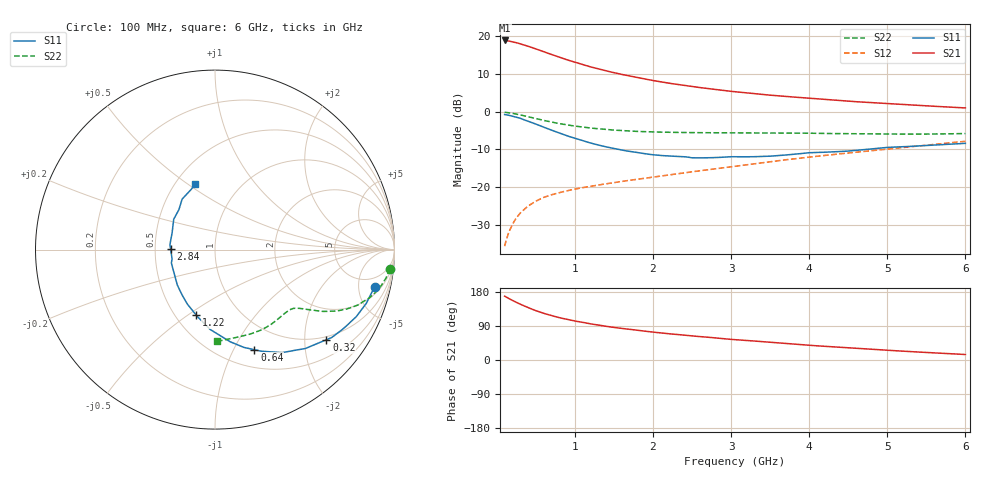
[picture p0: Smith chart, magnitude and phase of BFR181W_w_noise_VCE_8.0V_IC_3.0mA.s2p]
! Infineon Technologies  Discrete & RF Semiconductors
! BFR181W
! VCE =  8.0 V,  IC =  3.0 mA
! Common Emitter S-Parameters:  Nov 2015
# GHz  S  MA  R  50
!  f  S11  S21  S12  S22
! GHz  MAG  ANG  MAG  ANG  MAG  ANG  MAG  ANG
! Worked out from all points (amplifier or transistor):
!   192 points, 100 MHz to 6 GHz, reference 50 ohm
!   highest |S21| = 18.8 dB at 100 MHz (marker M1)
!   |S21| within 3 dB of that: start of sweep to 606.4 MHz
!   unconditionally stable (mu >= 1): 1.9 GHz to 3.453 GHz
!   at 440 MHz: K = 0.36, MSG = 20.7 dB, |S12| = -24.5 dB
!   at 1.7 GHz: K = 0.96, MSG = 13.8 dB, |S12| = -18.2 dB
!   at 6 GHz: K = 0.80, MSG = 4.4 dB, |S12| = -7.9 dB
!   lowest NFmin = 1.40 dB at 450 MHz
!   S11 on the Smith chart (normalised r, x): 100 MHz: 3.03, -7.51; 320 MHz: 0.91, -2.54; 640 MHz: 0.70, -1.21; 1.22 GHz: 0.63, -0.54; 2.84 GHz: 0.60, +0.00; 6 GHz: 0.63, +0.53
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0.1  0.9127 -13.1  8.704 168.5  0.0166 82.3  0.9801 -6.3
0.15  0.8948 -19.5  8.571 162.7  0.0247 78.9  0.9661 -9.4
0.2  0.8713 -25.4  8.374 157.3  0.032 75.8  0.9479 -12.2
0.26  0.8353 -32.5  8.084 151.2  0.0404 72.0  0.9215 -15.3
0.32  0.7986 -39.0  7.741 145.5  0.0475 68.7  0.8932 -18.0
0.4  0.7464 -47.6  7.321 138.0  0.0562 65.2  0.8539 -21.2
0.5  0.6849 -56.9  6.738 130.2  0.0653 61.5  0.8062 -24.2
0.64  0.5993 -68.5  5.982 120.8  0.0757 58.1  0.7479 -27.3
0.7  0.5684 -73.5  5.681 117.0  0.0793 56.9  0.7252 -28.3
0.78  0.5296 -79.1  5.328 112.8  0.0835 55.9  0.6992 -29.5
0.9  0.477 -87.1  4.825 107.0  0.0897 54.8  0.6655 -30.8
1.1  0.4124 -99.0  4.184 99.3  0.0986 54.0  0.6237 -32.5
1.22  0.3788 -106.2  3.848 94.7  0.1038 53.8  0.6026 -33.4
1.4  0.3412 -116.6  3.448 88.9  0.1107 54.2  0.5789 -34.5
1.6  0.3091 -127.2  3.096 83.3  0.1191 54.9  0.5602 -35.6
2.08  0.2636 -150.0  2.49 72.0  0.1395 57.0  0.5348 -39.0
2.5  0.2446 -167.7  2.136 63.4  0.1595 58.6  0.5264 -42.3
2.84  0.2473 179.5  1.935 57.6  0.1774 59.5  0.5235 -45.8
3.1  0.2521 170.6  1.806 53.0  0.1922 60.0  0.5219 -48.7
4.1  0.2875 141.3  1.472 37.4  0.2562 59.4  0.5149 -61.4
5.1  0.3388 121.0  1.259 24.5  0.3271 56.6  0.5034 -75.7
6  0.3798 106.7  1.116 14.5  0.4039 53.0  0.5119 -88.5
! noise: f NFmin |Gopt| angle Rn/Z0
0.45  1.4  0.56  17  0.36
0.9  1.5  0.45  35  0.34
1.8  1.85  0.25  82  0.36
